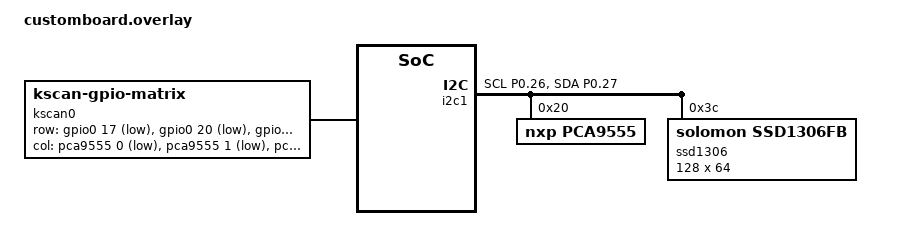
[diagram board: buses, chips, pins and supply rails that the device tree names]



&pinctrl {
    i2c1_default: i2c1_default {
        group1 {
            psels = <NRF_PSEL(TWIM_SCL, 0, 26)>, <NRF_PSEL(TWIM_SDA, 0, 27)>;
        };
    };

    i2c1_sleep: i2c1_sleep {
        group1 {
            psels = <NRF_PSEL(TWIM_SCL, 0, 26)>, <NRF_PSEL(TWIM_SDA, 0, 27)>;
            low-power-enable;
        };
    };
};




&i2c1 {
    status = "okay";
    pinctrl-0 = <&i2c1_default>;
    pinctrl-1 = <&i2c1_sleep>;
    pinctrl-names = "default", "sleep";


    pca9555: pca9555@20 {
        compatible = "nxp,pca9555";
        reg = <0x20>;
        gpio-controller;
        #gpio-cells = <2>;
        ngpios = <16>;
        status = "okay";
        label = "pca9555";   // Add this line

    };

    



    ssd1306: ssd1306@3c {
        compatible = "solomon,ssd1306fb";
        reg = <0x3c>;
        width = <128>;
        height = <64>;
        segment-offset = <0>;
        page-offset = <0>;
        display-offset = <0>;
        multiplex-ratio = <63>;
        prechargep = <0xF1>;
    };
};





//encoder
&gpio0 {
    ec11_encoder: ec11 {
        compatible = "alps,ec11";
        status = "okay";
        a-gpios = <&gpio0 6 (GPIO_ACTIVE_HIGH | GPIO_PULL_UP)>;
        b-gpios = <&gpio0 8 (GPIO_ACTIVE_HIGH | GPIO_PULL_UP)>;
        steps = <80>;

        button {
            gpios = <&gpio0 9 (GPIO_PULL_UP | GPIO_ACTIVE_LOW)>;  // Push button pin
            label = "Encoder Button";
        };
    };
    sensors: sensors {
        compatible = "zmk,keymap-sensors";
        sensors = <&ec11_encoder>;
        triggers-per-rotation = <20>;
    };
};




/ {
    chosen {
        zmk,kscan = &kscan0;
        zephyr,display = &ssd1306;
        //zmk,battery
    };

    kscan0: kscan {
        compatible = "zmk,kscan-gpio-matrix";
        row-gpios = <&gpio0 17 GPIO_ACTIVE_LOW>,
            <&gpio0 20 GPIO_ACTIVE_LOW>,
            <&gpio0 22 GPIO_ACTIVE_LOW>,
            <&gpio0 24 GPIO_ACTIVE_LOW>,
            <&gpio1 0 GPIO_ACTIVE_LOW>,
            <&pca9555 15 GPIO_ACTIVE_LOW>; // P17

        col-gpios = <&pca9555 0 GPIO_ACTIVE_LOW>,  // P00
                    <&pca9555 1 GPIO_ACTIVE_LOW>,  // P01
                    <&pca9555 2 GPIO_ACTIVE_LOW>,  // P02
                    <&pca9555 3 GPIO_ACTIVE_LOW>,  // P03
                    <&pca9555 4 GPIO_ACTIVE_LOW>,  // P04
                    <&pca9555 5 GPIO_ACTIVE_LOW>,  // P05
                    <&pca9555 6 GPIO_ACTIVE_LOW>,  // P06
                    <&pca9555 7 GPIO_ACTIVE_LOW>,  // P07
                    <&pca9555 8 GPIO_ACTIVE_LOW>, // P17 = last valid pin
                    <&pca9555 9 GPIO_ACTIVE_LOW>, // P16
                    <&pca9555 10 GPIO_ACTIVE_LOW>, // P15
                    <&pca9555 11 GPIO_ACTIVE_LOW>, // P14
                    <&pca9555 12 GPIO_ACTIVE_LOW>, // P13
                    <&pca9555 13 GPIO_ACTIVE_LOW>, // P12
                    <&pca9555 14 GPIO_ACTIVE_LOW>;  // P11
        diode-direction = "col2row";
    };
};
